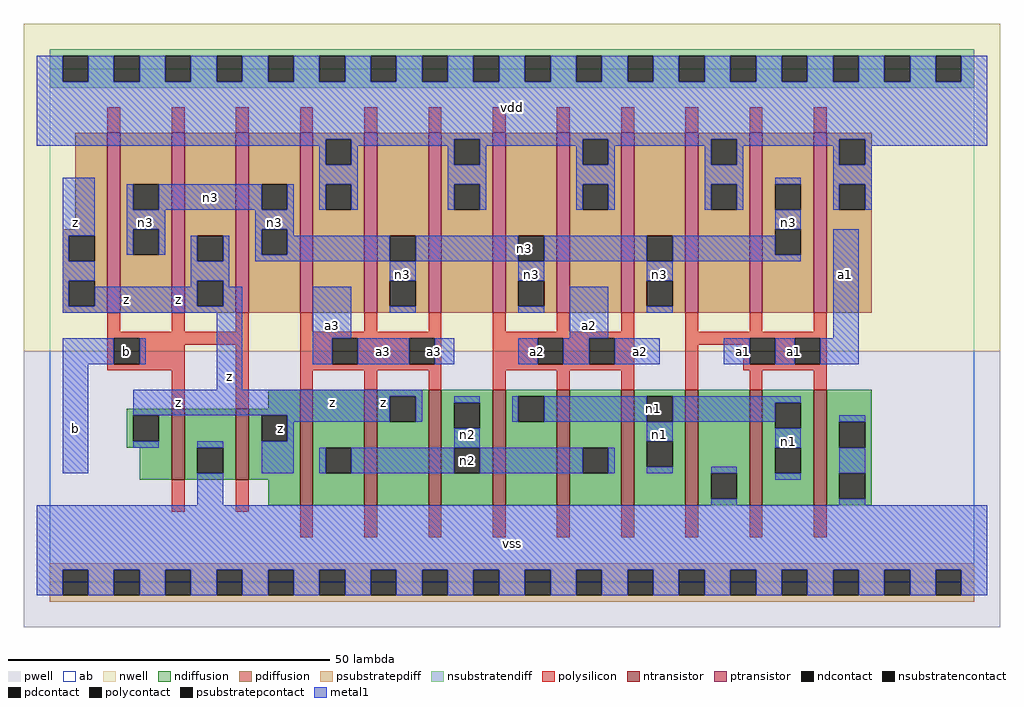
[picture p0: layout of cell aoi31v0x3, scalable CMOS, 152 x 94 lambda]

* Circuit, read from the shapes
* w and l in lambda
.subckt aoi31v0x3 a1 a2 a3 b n1 n2 n3 vdd vss z
M1 vss b z vss nfet w=11 l=2 m=2
M2 n2 a3 z vss nfet w=18 l=2 m=3
M3 n1 a2 n2 vss nfet w=18 l=2 m=3
M4 vss a1 n1 vss nfet w=18 l=2 m=3
M5 n3 b z vdd pfet w=28 l=2 m=3
M6 vdd a3 n3 vdd pfet w=28 l=2 m=3
M7 n3 a2 vdd vdd pfet w=28 l=2 m=3
M8 vdd a1 n3 vdd pfet w=28 l=2 m=3
.ends

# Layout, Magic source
magic
tech scmos
<< ab >>
rect 0 0 144 80
<< pwell >>
rect -4 -7 148 36
<< nwell >>
rect -4 36 148 87
<< polysilicon >>
rect 9 70 11 74
rect 19 70 21 74
rect 29 70 31 74
rect 39 70 41 74
rect 49 70 51 74
rect 59 70 61 74
rect 69 70 71 74
rect 79 70 81 74
rect 89 70 91 74
rect 99 70 101 74
rect 109 70 111 74
rect 119 70 121 74
rect 9 39 11 42
rect 19 39 21 42
rect 29 39 31 42
rect 9 38 31 39
rect 9 34 10 38
rect 14 37 31 38
rect 14 34 21 37
rect 9 33 21 34
rect 19 27 21 33
rect 29 27 31 37
rect 39 39 41 42
rect 49 39 51 42
rect 59 39 61 42
rect 39 38 61 39
rect 39 34 44 38
rect 48 34 56 38
rect 60 34 61 38
rect 39 33 61 34
rect 39 30 41 33
rect 49 30 51 33
rect 59 30 61 33
rect 69 39 71 42
rect 79 39 81 42
rect 89 39 91 42
rect 69 38 91 39
rect 69 34 76 38
rect 80 34 84 38
rect 88 34 91 38
rect 69 33 91 34
rect 69 30 71 33
rect 79 30 81 33
rect 89 30 91 33
rect 99 39 101 42
rect 109 39 111 42
rect 119 39 121 42
rect 99 38 121 39
rect 99 37 109 38
rect 99 30 101 37
rect 108 34 109 37
rect 113 34 116 38
rect 120 34 121 38
rect 108 33 121 34
rect 109 30 111 33
rect 119 30 121 33
rect 19 11 21 16
rect 29 11 31 16
rect 39 7 41 12
rect 49 7 51 12
rect 59 7 61 12
rect 69 7 71 12
rect 79 7 81 12
rect 89 7 91 12
rect 99 7 101 12
rect 109 7 111 12
rect 119 7 121 12
<< ndiffusion >>
rect 34 27 39 30
rect 12 26 19 27
rect 12 22 13 26
rect 17 22 19 26
rect 12 21 19 22
rect 14 16 19 21
rect 21 21 29 27
rect 21 17 23 21
rect 27 17 29 21
rect 21 16 29 17
rect 31 26 39 27
rect 31 22 33 26
rect 37 22 39 26
rect 31 16 39 22
rect 34 12 39 16
rect 41 21 49 30
rect 41 17 43 21
rect 47 17 49 21
rect 41 12 49 17
rect 51 29 59 30
rect 51 25 53 29
rect 57 25 59 29
rect 51 12 59 25
rect 61 28 69 30
rect 61 24 63 28
rect 67 24 69 28
rect 61 21 69 24
rect 61 17 63 21
rect 67 17 69 21
rect 61 12 69 17
rect 71 29 79 30
rect 71 25 73 29
rect 77 25 79 29
rect 71 12 79 25
rect 81 21 89 30
rect 81 17 83 21
rect 87 17 89 21
rect 81 12 89 17
rect 91 29 99 30
rect 91 25 93 29
rect 97 25 99 29
rect 91 22 99 25
rect 91 18 93 22
rect 97 18 99 22
rect 91 12 99 18
rect 101 17 109 30
rect 101 13 103 17
rect 107 13 109 17
rect 101 12 109 13
rect 111 28 119 30
rect 111 24 113 28
rect 117 24 119 28
rect 111 21 119 24
rect 111 17 113 21
rect 117 17 119 21
rect 111 12 119 17
rect 121 25 128 30
rect 121 21 123 25
rect 127 21 128 25
rect 121 17 128 21
rect 121 13 123 17
rect 127 13 128 17
rect 121 12 128 13
<< pdiffusion >>
rect 4 55 9 70
rect 2 54 9 55
rect 2 50 3 54
rect 7 50 9 54
rect 2 47 9 50
rect 2 43 3 47
rect 7 43 9 47
rect 2 42 9 43
rect 11 62 19 70
rect 11 58 13 62
rect 17 58 19 62
rect 11 55 19 58
rect 11 51 13 55
rect 17 51 19 55
rect 11 42 19 51
rect 21 54 29 70
rect 21 50 23 54
rect 27 50 29 54
rect 21 47 29 50
rect 21 43 23 47
rect 27 43 29 47
rect 21 42 29 43
rect 31 62 39 70
rect 31 58 33 62
rect 37 58 39 62
rect 31 55 39 58
rect 31 51 33 55
rect 37 51 39 55
rect 31 42 39 51
rect 41 69 49 70
rect 41 65 43 69
rect 47 65 49 69
rect 41 62 49 65
rect 41 58 43 62
rect 47 58 49 62
rect 41 42 49 58
rect 51 54 59 70
rect 51 50 53 54
rect 57 50 59 54
rect 51 47 59 50
rect 51 43 53 47
rect 57 43 59 47
rect 51 42 59 43
rect 61 69 69 70
rect 61 65 63 69
rect 67 65 69 69
rect 61 62 69 65
rect 61 58 63 62
rect 67 58 69 62
rect 61 42 69 58
rect 71 54 79 70
rect 71 50 73 54
rect 77 50 79 54
rect 71 47 79 50
rect 71 43 73 47
rect 77 43 79 47
rect 71 42 79 43
rect 81 69 89 70
rect 81 65 83 69
rect 87 65 89 69
rect 81 62 89 65
rect 81 58 83 62
rect 87 58 89 62
rect 81 42 89 58
rect 91 54 99 70
rect 91 50 93 54
rect 97 50 99 54
rect 91 47 99 50
rect 91 43 93 47
rect 97 43 99 47
rect 91 42 99 43
rect 101 69 109 70
rect 101 65 103 69
rect 107 65 109 69
rect 101 62 109 65
rect 101 58 103 62
rect 107 58 109 62
rect 101 42 109 58
rect 111 62 119 70
rect 111 58 113 62
rect 117 58 119 62
rect 111 55 119 58
rect 111 51 113 55
rect 117 51 119 55
rect 111 42 119 51
rect 121 69 128 70
rect 121 65 123 69
rect 127 65 128 69
rect 121 62 128 65
rect 121 58 123 62
rect 127 58 128 62
rect 121 42 128 58
<< metal1 >>
rect -2 78 2 82
rect 6 78 10 82
rect 14 78 18 82
rect 22 78 26 82
rect 30 78 34 82
rect 38 78 42 82
rect 46 78 50 82
rect 54 78 58 82
rect 62 78 66 82
rect 70 78 74 82
rect 78 78 82 82
rect 86 78 90 82
rect 94 78 98 82
rect 102 78 106 82
rect 110 78 114 82
rect 118 78 122 82
rect 126 78 130 82
rect 134 78 138 82
rect 142 78 146 82
rect -2 69 146 78
rect -2 68 43 69
rect 42 65 43 68
rect 47 68 63 69
rect 47 65 48 68
rect 2 54 7 63
rect 42 62 48 65
rect 2 50 3 54
rect 12 58 13 62
rect 17 58 33 62
rect 37 58 38 62
rect 42 58 43 62
rect 47 58 48 62
rect 62 65 63 68
rect 67 68 83 69
rect 67 65 68 68
rect 62 62 68 65
rect 62 58 63 62
rect 67 58 68 62
rect 82 65 83 68
rect 87 68 103 69
rect 87 65 88 68
rect 82 62 88 65
rect 82 58 83 62
rect 87 58 88 62
rect 102 65 103 68
rect 107 68 123 69
rect 107 65 108 68
rect 102 62 108 65
rect 122 65 123 68
rect 127 68 146 69
rect 127 65 128 68
rect 102 58 103 62
rect 107 58 108 62
rect 113 62 117 63
rect 122 62 128 65
rect 122 58 123 62
rect 127 58 128 62
rect 12 55 18 58
rect 12 51 13 55
rect 17 51 18 55
rect 32 55 38 58
rect 2 47 7 50
rect 2 43 3 47
rect 22 50 23 54
rect 27 50 28 54
rect 32 51 33 55
rect 37 54 38 55
rect 113 55 117 58
rect 37 51 53 54
rect 32 50 53 51
rect 57 50 73 54
rect 77 50 93 54
rect 97 51 113 54
rect 97 50 117 51
rect 22 47 28 50
rect 22 46 23 47
rect 7 43 23 46
rect 27 46 28 47
rect 53 47 57 50
rect 27 43 30 46
rect 2 42 30 43
rect 2 34 10 38
rect 14 34 15 38
rect 2 17 6 34
rect 26 30 30 42
rect 41 38 47 46
rect 53 42 57 43
rect 73 47 77 50
rect 93 47 97 50
rect 73 42 77 43
rect 81 38 87 46
rect 93 42 97 43
rect 122 38 126 55
rect 41 34 44 38
rect 48 34 56 38
rect 60 34 63 38
rect 73 34 76 38
rect 80 34 84 38
rect 88 34 95 38
rect 105 34 109 38
rect 113 34 116 38
rect 120 34 126 38
rect 13 29 58 30
rect 13 26 53 29
rect 37 25 53 26
rect 57 25 58 29
rect 63 28 67 29
rect 37 22 38 25
rect 13 21 17 22
rect 23 21 27 22
rect 33 17 38 22
rect 72 25 73 29
rect 77 25 93 29
rect 97 28 117 29
rect 97 25 113 28
rect 63 21 67 24
rect 93 22 97 25
rect 42 17 43 21
rect 47 17 63 21
rect 67 17 83 21
rect 87 17 88 21
rect 113 21 117 24
rect 93 17 97 18
rect 103 17 107 18
rect 23 12 27 17
rect 113 16 117 17
rect 123 25 127 26
rect 123 17 127 21
rect 103 12 107 13
rect 123 12 127 13
rect -2 2 146 12
rect -2 -2 2 2
rect 6 -2 10 2
rect 14 -2 18 2
rect 22 -2 26 2
rect 30 -2 34 2
rect 38 -2 42 2
rect 46 -2 50 2
rect 54 -2 58 2
rect 62 -2 66 2
rect 70 -2 74 2
rect 78 -2 82 2
rect 86 -2 90 2
rect 94 -2 98 2
rect 102 -2 106 2
rect 110 -2 114 2
rect 118 -2 122 2
rect 126 -2 130 2
rect 134 -2 138 2
rect 142 -2 146 2
<< ntransistor >>
rect 19 16 21 27
rect 29 16 31 27
rect 39 12 41 30
rect 49 12 51 30
rect 59 12 61 30
rect 69 12 71 30
rect 79 12 81 30
rect 89 12 91 30
rect 99 12 101 30
rect 109 12 111 30
rect 119 12 121 30
<< ptransistor >>
rect 9 42 11 70
rect 19 42 21 70
rect 29 42 31 70
rect 39 42 41 70
rect 49 42 51 70
rect 59 42 61 70
rect 69 42 71 70
rect 79 42 81 70
rect 89 42 91 70
rect 99 42 101 70
rect 109 42 111 70
rect 119 42 121 70
<< polycontact >>
rect 10 34 14 38
rect 44 34 48 38
rect 56 34 60 38
rect 76 34 80 38
rect 84 34 88 38
rect 109 34 113 38
rect 116 34 120 38
<< ndcontact >>
rect 13 22 17 26
rect 23 17 27 21
rect 33 22 37 26
rect 43 17 47 21
rect 53 25 57 29
rect 63 24 67 28
rect 63 17 67 21
rect 73 25 77 29
rect 83 17 87 21
rect 93 25 97 29
rect 93 18 97 22
rect 103 13 107 17
rect 113 24 117 28
rect 113 17 117 21
rect 123 21 127 25
rect 123 13 127 17
<< pdcontact >>
rect 3 50 7 54
rect 3 43 7 47
rect 13 58 17 62
rect 13 51 17 55
rect 23 50 27 54
rect 23 43 27 47
rect 33 58 37 62
rect 33 51 37 55
rect 43 65 47 69
rect 43 58 47 62
rect 53 50 57 54
rect 53 43 57 47
rect 63 65 67 69
rect 63 58 67 62
rect 73 50 77 54
rect 73 43 77 47
rect 83 65 87 69
rect 83 58 87 62
rect 93 50 97 54
rect 93 43 97 47
rect 103 65 107 69
rect 103 58 107 62
rect 113 58 117 62
rect 113 51 117 55
rect 123 65 127 69
rect 123 58 127 62
<< psubstratepcontact >>
rect 2 -2 6 2
rect 10 -2 14 2
rect 18 -2 22 2
rect 26 -2 30 2
rect 34 -2 38 2
rect 42 -2 46 2
rect 50 -2 54 2
rect 58 -2 62 2
rect 66 -2 70 2
rect 74 -2 78 2
rect 82 -2 86 2
rect 90 -2 94 2
rect 98 -2 102 2
rect 106 -2 110 2
rect 114 -2 118 2
rect 122 -2 126 2
rect 130 -2 134 2
rect 138 -2 142 2
<< nsubstratencontact >>
rect 2 78 6 82
rect 10 78 14 82
rect 18 78 22 82
rect 26 78 30 82
rect 34 78 38 82
rect 42 78 46 82
rect 50 78 54 82
rect 58 78 62 82
rect 66 78 70 82
rect 74 78 78 82
rect 82 78 86 82
rect 90 78 94 82
rect 98 78 102 82
rect 106 78 110 82
rect 114 78 118 82
rect 122 78 126 82
rect 130 78 134 82
rect 138 78 142 82
<< psubstratepdiff >>
rect 0 2 144 3
rect 0 -2 2 2
rect 6 -2 10 2
rect 14 -2 18 2
rect 22 -2 26 2
rect 30 -2 34 2
rect 38 -2 42 2
rect 46 -2 50 2
rect 54 -2 58 2
rect 62 -2 66 2
rect 70 -2 74 2
rect 78 -2 82 2
rect 86 -2 90 2
rect 94 -2 98 2
rect 102 -2 106 2
rect 110 -2 114 2
rect 118 -2 122 2
rect 126 -2 130 2
rect 134 -2 138 2
rect 142 -2 144 2
rect 0 -3 144 -2
<< nsubstratendiff >>
rect 0 82 144 83
rect 0 78 2 82
rect 6 78 10 82
rect 14 78 18 82
rect 22 78 26 82
rect 30 78 34 82
rect 38 78 42 82
rect 46 78 50 82
rect 54 78 58 82
rect 62 78 66 82
rect 70 78 74 82
rect 78 78 82 82
rect 86 78 90 82
rect 94 78 98 82
rect 102 78 106 82
rect 110 78 114 82
rect 118 78 122 82
rect 126 78 130 82
rect 134 78 138 82
rect 142 78 144 82
rect 0 77 144 78
<< labels >>
rlabel metal1 20 28 20 28 6 z
rlabel metal1 4 24 4 24 6 b
rlabel polycontact 12 36 12 36 6 b
rlabel metal1 12 44 12 44 6 z
rlabel metal1 20 44 20 44 6 z
rlabel metal1 15 56 15 56 6 n3
rlabel metal1 4 56 4 56 6 z
rlabel ndcontact 36 24 36 24 6 z
rlabel metal1 44 28 44 28 6 z
rlabel metal1 52 28 52 28 6 z
rlabel metal1 28 32 28 32 6 z
rlabel metal1 44 40 44 40 6 a3
rlabel metal1 52 36 52 36 6 a3
rlabel metal1 35 56 35 56 6 n3
rlabel metal1 25 60 25 60 6 n3
rlabel metal1 72 6 72 6 6 vss
rlabel metal1 65 23 65 23 6 n2
rlabel metal1 60 36 60 36 6 a3
rlabel metal1 76 36 76 36 6 a2
rlabel metal1 84 40 84 40 6 a2
rlabel metal1 75 48 75 48 6 n3
rlabel metal1 55 48 55 48 6 n3
rlabel metal1 72 74 72 74 6 vdd
rlabel ndcontact 65 19 65 19 6 n2
rlabel metal1 95 23 95 23 6 n1
rlabel metal1 108 36 108 36 6 a1
rlabel metal1 92 36 92 36 6 a2
rlabel metal1 95 48 95 48 6 n3
rlabel metal1 115 22 115 22 6 n1
rlabel ndcontact 94 27 94 27 6 n1
rlabel metal1 116 36 116 36 6 a1
rlabel metal1 124 48 124 48 6 a1
rlabel metal1 115 56 115 56 6 n3
rlabel pdcontact 74 52 74 52 6 n3
<< end >>
